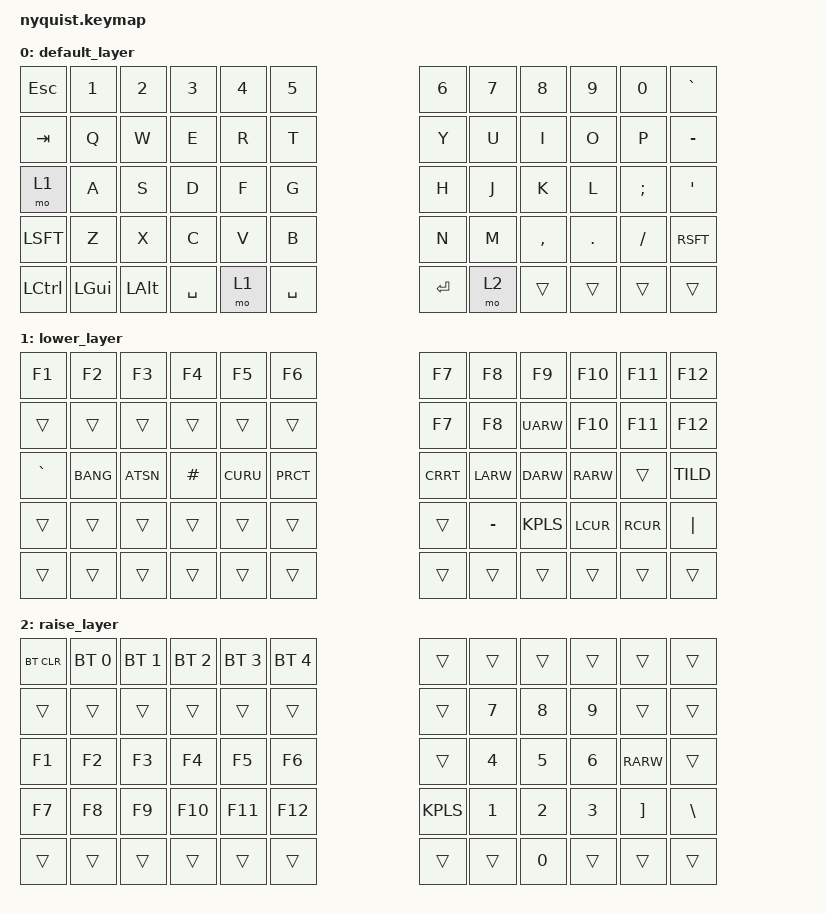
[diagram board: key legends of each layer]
/*
 * Copyright (c) 2020 Pete Johanson, Kurtis Lew
 *
 * SPDX-License-Identifier: MIT
 */

#include <behaviors.dtsi>
#include <dt-bindings/zmk/keys.h>
#include <dt-bindings/zmk/bt.h>

/ {
	keymap {
		compatible = "zmk,keymap";

		default_layer {
// ------------------------------------------------------------------------------------------------------------
// |  ESC  |  1  |  2  |  3   |  4   |  5   |                   |  6   |  7    |  8    |  9   |   0   | BKSPC |
// |  TAB  |  Q  |  W  |  E   |  R   |  T   |                   |  Y   |  U    |  I    |  O   |   P   |   \   |
// | RAISE |  A  |  S  |  D   |  F   |  G   |                   |  H   |  J    |  K    |  L   |   ;   |   '   |
// | SHIFT |  Z  |  X  |  C   |  V   |  B   |					|  N   |  M    |  ,    |  .   |   /   | SHIFT |
// | CTRL  | GUI | ALT | GUI  | LOWER|SPACE |  				    | ENTER | RAISE|  ALT  |      |       |       |
			bindings = <
&kp ESC    &kp NUM_1   &kp NUM_2   &kp NUM_3   &kp NUM_4   &kp NUM_5                   &kp NUM_6 &kp NUM_7 &kp NUM_8 &kp NUM_9 &kp NUM_0 &kp GRAV
&kp TAB    &kp Q       &kp W       &kp E       &kp R       &kp T                       &kp Y     &kp U     &kp I     &kp O     &kp P     &kp MINUS
&mo 1      &kp A       &kp S       &kp D       &kp F       &kp G                       &kp H     &kp J     &kp K     &kp L     &kp SCLN  &kp QUOT
&kp LSFT   &kp Z       &kp X       &kp C       &kp V       &kp B       				   &kp N     &kp M     &kp CMMA  &kp DOT   &kp FSLH  &kp RSFT
&kp LCTL   &kp LGUI    &kp LALT    &kp SPC     &mo 1       &kp SPC 			   	       &kp RET   &mo 2     &trans    &trans    &trans    &trans 
			>;
		};

		lower_layer {
// ------------------------------------------------------------------------------------------------------------
// |  F1   |  F2 |  F3 |  F4  |  F5  |  F6  |                   |  F7  |  F8   |  F9   |  F10 |  F11  |  F12  |
// |       |     |     |      |      |      |                   |      |       |   ^   |      |       |       |
// |       |     |     |      |      |      |                   |      |   <-  |   v   |  ->  |       |       |
// |       |     |     |      |      |      |                   |      |  _    |  +    |  {   |   }   |  "|"  |
// |       |     |     |      |      |      |      				|      |	   |	   |      |       |       |
			bindings = <
&kp F1     &kp F2       &kp F3       &kp F4       &kp F5       &kp F6                       &kp F7    &kp F8    &kp F9    &kp F10   &kp F11   &kp F12
&trans     &trans       &trans       &trans       &trans       &trans                       &kp F7    &kp F8    &kp UARW  &kp F10   &kp F11   &kp F12
&kp GRAV   &kp BANG     &kp ATSN     &kp HASH     &kp CURU     &kp PRCT                     &kp CRRT  &kp LARW  &kp DARW  &kp RARW  &trans    &kp TILD
&trans     &trans       &trans       &trans       &trans       &trans    				    &trans    &kp MINUS &kp KPLS  &kp LCUR  &kp RCUR  &kp PIPE
&trans     &trans       &trans       &trans       &trans       &trans  						&trans    &trans    &trans    &trans    &trans    &trans                     					         
			>;
		};

		raise_layer {
// ------------------------------------------------------------------------------------------------------------
// | BTCLR | BT1 | BT2 |  BT3 |  BT4 |  BT5 |                   |      |       |       |      |       |       |
// |   `   |     |     |      |      |      |                   |      |   7   |   8   |  9   |       |       |
// |   F1  |  F2 |  F3 |  F4  |  F5  |  F6  |                   |      |   4   |   5   |  6   |  ->   |       |
// |   F7  |  F8 |  F9 |  F10 |  F11 |  F12 |                   |  +   |   1   |   2   |  3   |   ]   |   \   |
// |      |      |     |      |      |      |                   |      |       |    0  |      |       |       |
			bindings = <
&bt BT_CLR &bt BT_SEL 0 &bt BT_SEL 1 &bt BT_SEL 2 &bt BT_SEL 3 &bt BT_SEL 4                 &trans    &trans     &trans     &trans     &trans    &trans
&trans     &trans       &trans       &trans       &trans       &trans  						&trans    &kp NUM_7  &kp NUM_8  &kp NUM_9  &trans    &trans
&kp F1     &kp F2       &kp F3       &kp F4       &kp F5       &kp F6                       &trans    &kp NUM_4  &kp NUM_5  &kp NUM_6  &kp RARW  &trans
&kp F7     &kp F8       &kp F9       &kp F10      &kp F11      &kp F12   				    &kp KPLS  &kp NUM_1  &kp NUM_2  &kp NUM_3  &kp RBKT  &kp BSLH
&trans     &trans       &trans       &trans       &trans       &trans  						&trans    &trans     &kp NUM_0  &trans     &trans    &trans  
			>;
		};
	};
};
